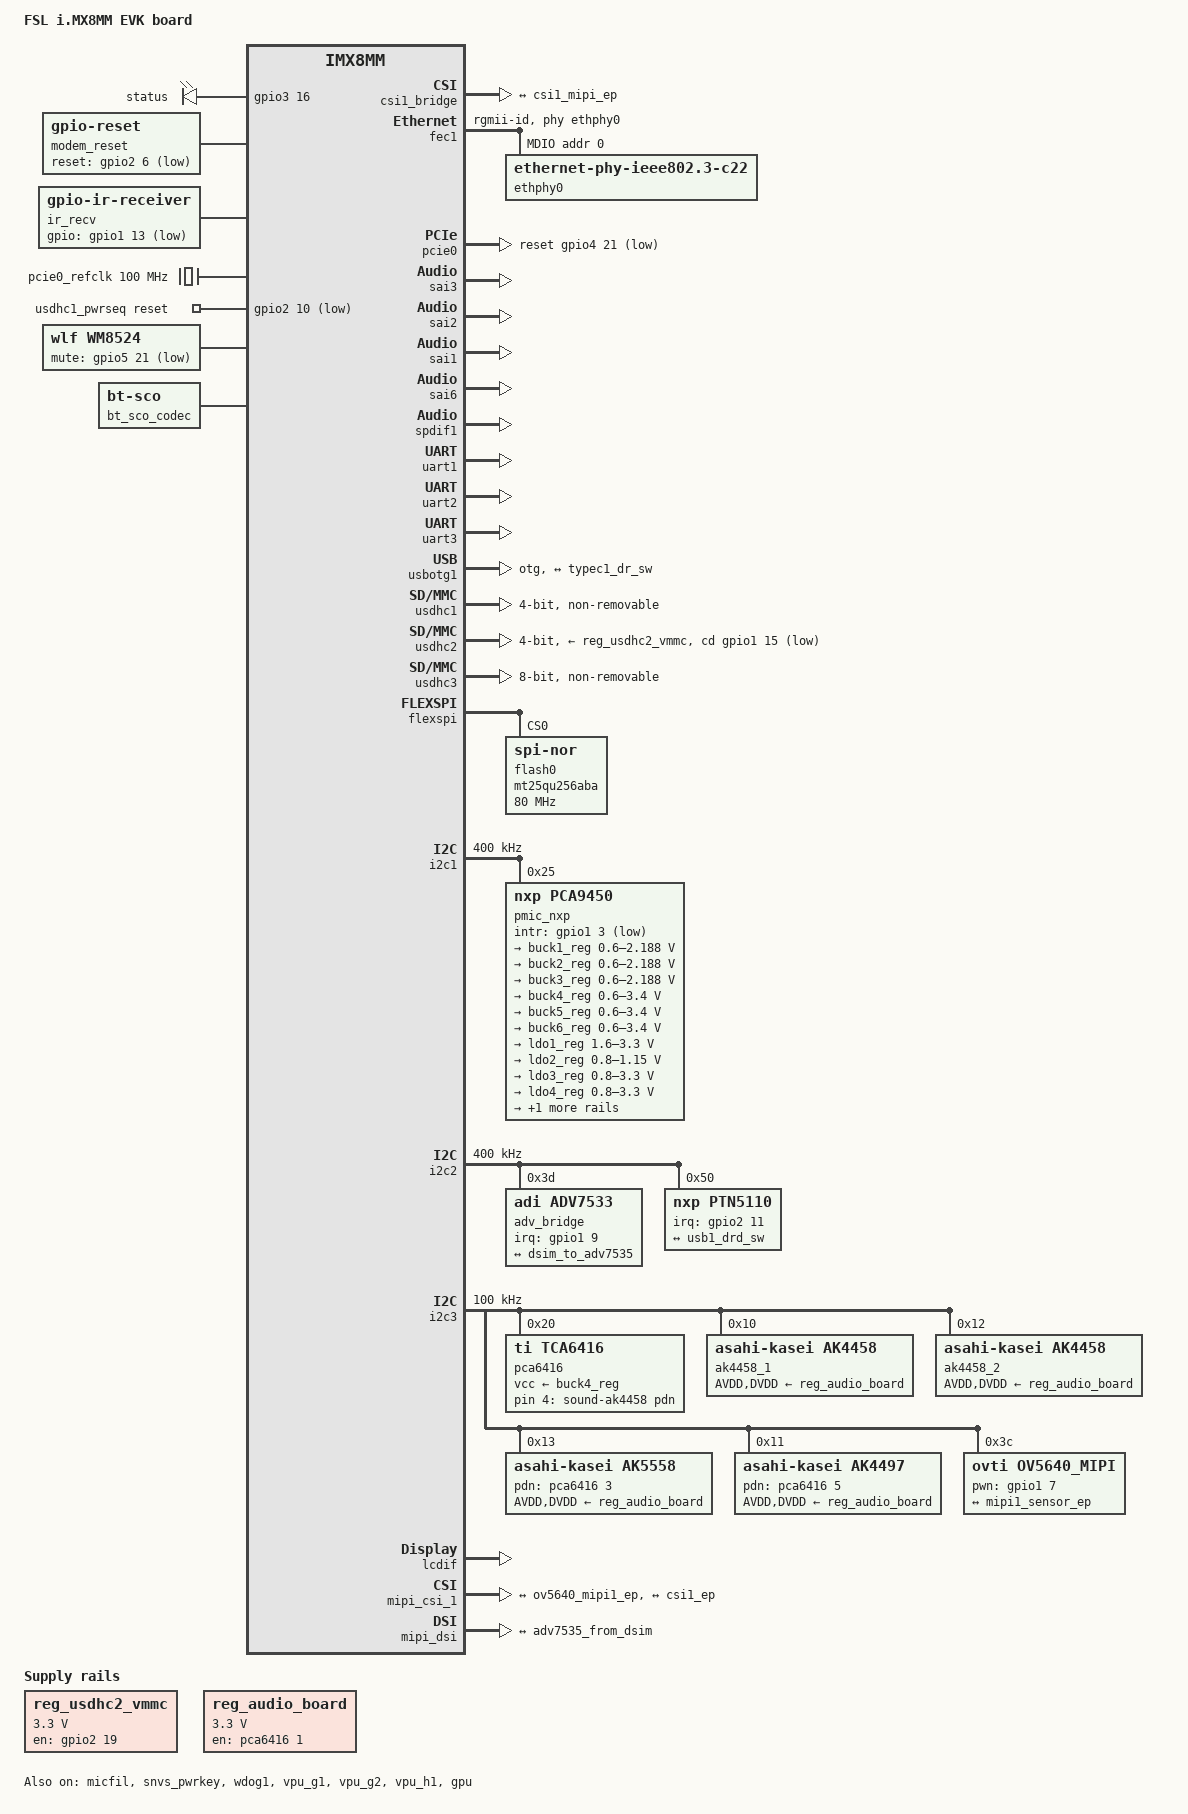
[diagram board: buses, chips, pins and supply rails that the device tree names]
// SPDX-License-Identifier: (GPL-2.0+ OR MIT)
/*
 * Copyright 2019 NXP
 */

/dts-v1/;

#include <dt-bindings/usb/pd.h>
#include "imx8mm.dtsi"

/ {
	model = "FSL i.MX8MM EVK board";
	compatible = "fsl,imx8mm-evk", "fsl,imx8mm";

	reserved-memory {
		#address-cells = <2>;
		#size-cells = <2>;
		ranges;

		rpmsg_reserved: rpmsg@0xb8000000 {
			no-map;
			reg = <0 0xb8000000 0 0x400000>;
		};
	};

	chosen {
		stdout-path = &uart2;
	};

	leds {
		compatible = "gpio-leds";
		pinctrl-names = "default";
		pinctrl-0 = <&pinctrl_gpio_led>;

		status {
			label = "status";
			gpios = <&gpio3 16 GPIO_ACTIVE_HIGH>;
			default-state = "on";
		};
	};

	modem_reset: modem-reset {
		compatible = "gpio-reset";
		reset-gpios = <&gpio2 6 GPIO_ACTIVE_LOW>;
		reset-delay-us = <2000>;
		reset-post-delay-ms = <40>;
		#reset-cells = <0>;
	};

	ir_recv: ir-receiver {
		compatible = "gpio-ir-receiver";
		gpios = <&gpio1 13 GPIO_ACTIVE_LOW>;
		pinctrl-names = "default";
		pinctrl-0 = <&pinctrl_ir_recv>;
	};

	pcie0_refclk: pcie0-refclk {
		compatible = "fixed-clock";
		#clock-cells = <0>;
		clock-frequency = <100000000>;
	};

	usdhc1_pwrseq: usdhc1_pwrseq {
		compatible = "mmc-pwrseq-simple";
		pinctrl-names = "default";
		pinctrl-0 = <&pinctrl_usdhc1_gpio>;
		reset-gpios = <&gpio2 10 GPIO_ACTIVE_LOW>;
	};

	reg_usdhc2_vmmc: regulator-usdhc2 {
		compatible = "regulator-fixed";
		pinctrl-names = "default";
		pinctrl-0 = <&pinctrl_reg_usdhc2_vmmc>;
		regulator-name = "VSD_3V3";
		regulator-min-microvolt = <3300000>;
		regulator-max-microvolt = <3300000>;
		gpio = <&gpio2 19 GPIO_ACTIVE_HIGH>;
		off-on-delay-us = <20000>;
		enable-active-high;
	};

	reg_audio_board: regulator-audio-board {
		compatible = "regulator-fixed";
		regulator-name = "EXT_PWREN";
		regulator-min-microvolt = <3300000>;
		regulator-max-microvolt = <3300000>;
		enable-active-high;
		startup-delay-us = <300000>;
		gpio = <&pca6416 1 GPIO_ACTIVE_HIGH>;
	};

	wm8524: audio-codec {
		#sound-dai-cells = <0>;
		compatible = "wlf,wm8524";
		pinctrl-names = "default";
		pinctrl-0 = <&pinctrl_gpio_wlf>;
		wlf,mute-gpios = <&gpio5 21 GPIO_ACTIVE_LOW>;
	};

	bt_sco_codec: bt_sco_codec {
		#sound-dai-cells = <1>;
		compatible = "linux,bt-sco";
	};

	sound-bt-sco {
		compatible = "simple-audio-card";
		simple-audio-card,name = "bt-sco-audio";
		simple-audio-card,format = "dsp_a";
		simple-audio-card,bitclock-inversion;
		simple-audio-card,frame-master = <&btcpu>;
		simple-audio-card,bitclock-master = <&btcpu>;

		btcpu: simple-audio-card,cpu {
			sound-dai = <&sai2>;
			dai-tdm-slot-num = <2>;
			dai-tdm-slot-width = <16>;
		};

		simple-audio-card,codec {
			sound-dai = <&bt_sco_codec 1>;
		};
	};

	sound-wm8524 {
		compatible = "simple-audio-card";
		simple-audio-card,name = "wm8524-audio";
		simple-audio-card,format = "i2s";
		simple-audio-card,frame-master = <&cpudai>;
		simple-audio-card,bitclock-master = <&cpudai>;
		simple-audio-card,widgets =
			"Line", "Left Line Out Jack",
			"Line", "Right Line Out Jack";
		simple-audio-card,routing =
			"Left Line Out Jack", "LINEVOUTL",
			"Right Line Out Jack", "LINEVOUTR";

		cpudai: simple-audio-card,cpu {
			sound-dai = <&sai3>;
			dai-tdm-slot-num = <2>;
			dai-tdm-slot-width = <32>;
		};

		simple-audio-card,codec {
			sound-dai = <&wm8524>;
			clocks = <&clk IMX8MM_CLK_SAI3_ROOT>;
		};
	};

	sound-ak4458 {
		compatible = "fsl,imx-audio-ak4458";
		model = "ak4458-audio";
		audio-cpu = <&sai1>;
		audio-codec = <&ak4458_1>, <&ak4458_2>;
		ak4458,pdn-gpio = <&pca6416 4 GPIO_ACTIVE_HIGH>;
	};

	sound-ak5558 {
		compatible = "fsl,imx-audio-ak5558";
		model = "ak5558-audio";
		audio-cpu = <&sai5>;
		audio-codec = <&ak5558>;
		status = "disabled";
	};

	sound-ak4497 {
		compatible = "fsl,imx-audio-ak4497";
		model = "ak4497-audio";
		audio-cpu = <&sai1>;
		audio-codec = <&ak4497>;
		status = "disabled";
	};

	sound-spdif {
		compatible = "fsl,imx-audio-spdif";
		model = "imx-spdif";
		spdif-controller = <&spdif1>;
		spdif-out;
		spdif-in;
	};

	sound-micfil {
		compatible = "fsl,imx-audio-micfil";
		model = "imx-audio-micfil";
		cpu-dai = <&micfil>;
	};
};

&A53_0 {
	cpu-supply = <&buck2_reg>;
};

&csi1_bridge {
	fsl,mipi-mode;
	status = "okay";
	port {
		csi1_ep: endpoint {
			remote-endpoint = <&csi1_mipi_ep>;
		};
	};
};

&fec1 {
	pinctrl-names = "default";
	pinctrl-0 = <&pinctrl_fec1>;
	phy-mode = "rgmii-id";
	phy-handle = <&ethphy0>;
	fsl,magic-packet;
	status = "okay";

	mdio {
		#address-cells = <1>;
		#size-cells = <0>;

		ethphy0: ethernet-phy@0 {
			compatible = "ethernet-phy-ieee802.3-c22";
			reg = <0>;
			at803x,eee-disabled;
			at803x,vddio-1p8v;
		};
	};
};

&pcie0{
	pinctrl-names = "default";
	pinctrl-0 = <&pinctrl_pcie0>;
	disable-gpio = <&gpio1 5 GPIO_ACTIVE_LOW>;
	reset-gpio = <&gpio4 21 GPIO_ACTIVE_LOW>;
	clocks = <&clk IMX8MM_CLK_PCIE1_ROOT>,
		 <&clk IMX8MM_CLK_PCIE1_AUX>,
		 <&clk IMX8MM_CLK_PCIE1_PHY>,
		 <&pcie0_refclk>;
	clock-names = "pcie", "pcie_aux", "pcie_phy", "pcie_bus";
	assigned-clocks = <&clk IMX8MM_CLK_PCIE1_AUX>,
			  <&clk IMX8MM_CLK_PCIE1_PHY>,
			  <&clk IMX8MM_CLK_PCIE1_CTRL>;
	assigned-clock-rates = <10000000>, <100000000>, <250000000>;
	assigned-clock-parents = <&clk IMX8MM_SYS_PLL2_50M>,
				 <&clk IMX8MM_SYS_PLL2_100M>,
				 <&clk IMX8MM_SYS_PLL2_250M>;
	ext_osc = <1>;
	l1ss-disabled;
	status = "okay";
};

&pcie0_ep{
	pinctrl-names = "default";
	pinctrl-0 = <&pinctrl_pcie0>;
	clocks = <&clk IMX8MM_CLK_PCIE1_ROOT>,
		 <&clk IMX8MM_CLK_PCIE1_AUX>,
		 <&clk IMX8MM_CLK_PCIE1_PHY>,
		 <&pcie0_refclk>;
	clock-names = "pcie", "pcie_aux", "pcie_phy", "pcie_bus";
	assigned-clocks = <&clk IMX8MM_CLK_PCIE1_AUX>,
			  <&clk IMX8MM_CLK_PCIE1_PHY>,
			  <&clk IMX8MM_CLK_PCIE1_CTRL>;
	assigned-clock-rates = <10000000>, <100000000>, <250000000>;
	assigned-clock-parents = <&clk IMX8MM_SYS_PLL2_50M>,
				 <&clk IMX8MM_SYS_PLL2_100M>,
				 <&clk IMX8MM_SYS_PLL2_250M>;
	ext_osc = <1>;
	status = "disabled";
};

&sai3 {
	pinctrl-names = "default";
	pinctrl-0 = <&pinctrl_sai3>;
	assigned-clocks = <&clk IMX8MM_CLK_SAI3>;
	assigned-clock-parents = <&clk IMX8MM_AUDIO_PLL1_OUT>;
	assigned-clock-rates = <24576000>;
	status = "okay";
};

&sai2 {
	#sound-dai-cells = <0>;
	pinctrl-names = "default";
	pinctrl-0 = <&pinctrl_sai2>;
	assigned-clocks = <&clk IMX8MM_CLK_SAI2>;
	assigned-clock-parents = <&clk IMX8MM_AUDIO_PLL1_OUT>;
	assigned-clock-rates = <24576000>;
	status = "okay";
};

&sai1 {
	pinctrl-names = "default", "dsd";
	pinctrl-0 = <&pinctrl_sai1>;
	pinctrl-1 = <&pinctrl_sai1_dsd>;
	assigned-clocks = <&clk IMX8MM_CLK_SAI1>;
	assigned-clock-parents = <&clk IMX8MM_AUDIO_PLL1_OUT>;
	assigned-clock-rates = <49152000>;
	clocks = <&clk IMX8MM_CLK_SAI1_IPG>, <&clk IMX8MM_CLK_DUMMY>,
		<&clk IMX8MM_CLK_SAI1_ROOT>, <&clk IMX8MM_CLK_DUMMY>,
		<&clk IMX8MM_CLK_DUMMY>, <&clk IMX8MM_AUDIO_PLL1_OUT>,
		<&clk IMX8MM_AUDIO_PLL2_OUT>;
	clock-names = "bus", "mclk0", "mclk1", "mclk2", "mclk3", "pll8k", "pll11k";
	fsl,sai-multi-lane;
	fsl,dataline,dsd = <0 0xff 0xff 2 0xff 0x11>;
	dmas = <&sdma2 0 25 0>, <&sdma2 1 25 0>;
	status = "okay";
};

&sai5 {
	pinctrl-names = "default";
	pinctrl-0 = <&pinctrl_sai5>;
	assigned-clocks = <&clk IMX8MM_CLK_SAI5>;
	assigned-clock-parents = <&clk IMX8MM_AUDIO_PLL1_OUT>;
	assigned-clock-rates = <49152000>;
	clocks = <&clk IMX8MM_CLK_SAI5_IPG>, <&clk IMX8MM_CLK_DUMMY>,
		<&clk IMX8MM_CLK_SAI5_ROOT>, <&clk IMX8MM_CLK_DUMMY>,
		<&clk IMX8MM_CLK_DUMMY>, <&clk IMX8MM_AUDIO_PLL1_OUT>,
		<&clk IMX8MM_AUDIO_PLL2_OUT>;
	clock-names = "bus", "mclk0", "mclk1", "mclk2", "mclk3", "pll8k", "pll11k";
	fsl,sai-asynchronous;
	status = "disabled";
};

&sai6 {
	fsl,sai-monitor-spdif;
	fsl,sai-asynchronous;
	status = "okay";
};

&spdif1 {
	pinctrl-names = "default";
	pinctrl-0 = <&pinctrl_spdif1>;
	assigned-clocks = <&clk IMX8MM_CLK_SPDIF1>;
	assigned-clock-parents = <&clk IMX8MM_AUDIO_PLL1_OUT>;
	assigned-clock-rates = <24576000>;
	clocks = <&clk IMX8MM_CLK_AUDIO_AHB>, <&clk IMX8MM_CLK_24M>,
		<&clk IMX8MM_CLK_SPDIF1>, <&clk IMX8MM_CLK_DUMMY>,
		<&clk IMX8MM_CLK_DUMMY>, <&clk IMX8MM_CLK_DUMMY>,
		<&clk IMX8MM_CLK_AUDIO_AHB>, <&clk IMX8MM_CLK_DUMMY>,
		<&clk IMX8MM_CLK_DUMMY>, <&clk IMX8MM_CLK_DUMMY>,
		<&clk IMX8MM_AUDIO_PLL1_OUT>, <&clk IMX8MM_AUDIO_PLL2_OUT>;
	clock-names = "core", "rxtx0", "rxtx1", "rxtx2", "rxtx3",
		"rxtx4", "rxtx5", "rxtx6", "rxtx7", "spba", "pll8k", "pll11k";
	status = "okay";
};

&micfil {
	pinctrl-names = "default";
	pinctrl-0 = <&pinctrl_pdm>;
	assigned-clocks = <&clk IMX8MM_CLK_PDM>;
	assigned-clock-parents = <&clk IMX8MM_AUDIO_PLL1_OUT>;
	assigned-clock-rates = <196608000>;
	status = "okay";
};

&snvs_pwrkey {
	status = "okay";
};

&uart1 { /* BT */
	pinctrl-names = "default";
	pinctrl-0 = <&pinctrl_uart1>;
	assigned-clocks = <&clk IMX8MM_CLK_UART1>;
	assigned-clock-parents = <&clk IMX8MM_SYS_PLL1_80M>;
	fsl,uart-has-rtscts;
	resets = <&modem_reset>;
	status = "okay";
};

&uart2 { /* console */
	pinctrl-names = "default";
	pinctrl-0 = <&pinctrl_uart2>;
	status = "okay";
};

&uart3 {
	pinctrl-names = "default";
	pinctrl-0 = <&pinctrl_uart3>;
	assigned-clocks = <&clk IMX8MM_CLK_UART3>;
	assigned-clock-parents = <&clk IMX8MM_SYS_PLL1_80M>;
	fsl,uart-has-rtscts;
	status = "okay";
};

&usbotg1 {
	dr_mode = "otg";
	hnp-disable;
	srp-disable;
	adp-disable;
	usb-role-switch;
	picophy,pre-emp-curr-control = <3>;
	picophy,dc-vol-level-adjust = <7>;
	status = "okay";

	port {
		usb1_drd_sw: endpoint {
			remote-endpoint = <&typec1_dr_sw>;
		};
	};
};

&usdhc1 {
	pinctrl-names = "default", "state_100mhz", "state_200mhz";
	pinctrl-0 = <&pinctrl_usdhc1>, <&pinctrl_wlan>;
	pinctrl-1 = <&pinctrl_usdhc1_100mhz>, <&pinctrl_wlan>;
	pinctrl-2 = <&pinctrl_usdhc1_200mhz>, <&pinctrl_wlan>;
	bus-width = <4>;
	cap-power-off-card;
	pm-ignore-notify;
	keep-power-in-suspend;
	non-removable;
	mmc-pwrseq = <&usdhc1_pwrseq>;
	status = "okay";
};

&usdhc2 {
	pinctrl-names = "default", "state_100mhz", "state_200mhz";
	pinctrl-0 = <&pinctrl_usdhc2>, <&pinctrl_usdhc2_gpio>;
	pinctrl-1 = <&pinctrl_usdhc2_100mhz>, <&pinctrl_usdhc2_gpio>;
	pinctrl-2 = <&pinctrl_usdhc2_200mhz>, <&pinctrl_usdhc2_gpio>;
	cd-gpios = <&gpio1 15 GPIO_ACTIVE_LOW>;
	bus-width = <4>;
	vmmc-supply = <&reg_usdhc2_vmmc>;
	status = "okay";
};

&usdhc3 {
	pinctrl-names = "default", "state_100mhz", "state_200mhz";
	pinctrl-0 = <&pinctrl_usdhc3>;
	pinctrl-1 = <&pinctrl_usdhc3_100mhz>;
	pinctrl-2 = <&pinctrl_usdhc3_200mhz>;
	bus-width = <8>;
	non-removable;
	status = "okay";
};

&wdog1 {
	pinctrl-names = "default";
	pinctrl-0 = <&pinctrl_wdog>;
	fsl,ext-reset-output;
	status = "okay";
};

&flexspi {
	pinctrl-names = "default";
	pinctrl-0 = <&pinctrl_flexspi0>;
	status = "okay";

	flash0: mt25qu256aba@0 {
		reg = <0>;
		#address-cells = <1>;
		#size-cells = <1>;
		compatible = "jedec,spi-nor";
		spi-max-frequency = <80000000>;
		spi-tx-bus-width = <4>;
		spi-rx-bus-width = <4>;
	};
};

&i2c1 {
	clock-frequency = <400000>;
	pinctrl-names = "default";
	pinctrl-0 = <&pinctrl_i2c1>;
	status = "okay";

	pmic_nxp: pca9450@25 {
		reg = <0x25>;
		compatible = "nxp,pca9450";
		/* PMIC PCA9450 PMIC_nINT GPIO1_IO3 */
		pinctrl-0 = <&pinctrl_pmic>;
		gpio_intr = <&gpio1 3 GPIO_ACTIVE_LOW>;

		regulators {
			#address-cells = <1>;
			#size-cells = <0>;

			pca9450,pmic-buck1-uses-i2c-dvs;
			/* Run/Standby voltage */
			pca9450,pmic-buck1-dvs-voltage = <850000>, <800000>;

			buck1_reg: regulator@0 {
				reg = <0>;
				regulator-compatible = "buck1";
				regulator-min-microvolt = <600000>;
				regulator-max-microvolt = <2187500>;
				regulator-boot-on;
				regulator-always-on;
				regulator-ramp-delay = <3125>;
			};

			buck2_reg: regulator@1 {
				reg = <1>;
				regulator-compatible = "buck2";
				regulator-min-microvolt = <600000>;
				regulator-max-microvolt = <2187500>;
				regulator-boot-on;
				regulator-always-on;
				regulator-ramp-delay = <3125>;
			};

			buck3_reg: regulator@2 {
				reg = <2>;
				regulator-compatible = "buck3";
				regulator-min-microvolt = <600000>;
				regulator-max-microvolt = <2187500>;
				regulator-boot-on;
				regulator-always-on;
			};

			buck4_reg: regulator@3 {
				reg = <3>;
				regulator-compatible = "buck4";
				regulator-min-microvolt = <600000>;
				regulator-max-microvolt = <3400000>;
				regulator-boot-on;
				regulator-always-on;
			};

			buck5_reg: regulator@4 {
				reg = <4>;
				regulator-compatible = "buck5";
				regulator-min-microvolt = <600000>;
				regulator-max-microvolt = <3400000>;
				regulator-boot-on;
				regulator-always-on;
			};

			buck6_reg: regulator@5 {
				reg = <5>;
				regulator-compatible = "buck6";
				regulator-min-microvolt = <600000>;
				regulator-max-microvolt = <3400000>;
				regulator-boot-on;
				regulator-always-on;
			};

			ldo1_reg: regulator@6 {
				reg = <6>;
				regulator-compatible = "ldo1";
				regulator-min-microvolt = <1600000>;
				regulator-max-microvolt = <3300000>;
				regulator-boot-on;
				regulator-always-on;
			};

			ldo2_reg: regulator@7 {
				reg = <7>;
				regulator-compatible = "ldo2";
				regulator-min-microvolt = <800000>;
				regulator-max-microvolt = <1150000>;
				regulator-boot-on;
				regulator-always-on;
			};

			ldo3_reg: regulator@8 {
				reg = <8>;
				regulator-compatible = "ldo3";
				regulator-min-microvolt = <800000>;
				regulator-max-microvolt = <3300000>;
				regulator-boot-on;
				regulator-always-on;
			};

			ldo4_reg: regulator@9 {
				reg = <9>;
				regulator-compatible = "ldo4";
				regulator-min-microvolt = <800000>;
				regulator-max-microvolt = <3300000>;
				regulator-boot-on;
				regulator-always-on;
			};

			ldo5_reg: regulator@10 {
				reg = <10>;
				regulator-compatible = "ldo5";
				regulator-min-microvolt = <1800000>;
				regulator-max-microvolt = <3300000>;
			};
		};
	};
};

&i2c2 {
	clock-frequency = <400000>;
	pinctrl-names = "default";
	pinctrl-0 = <&pinctrl_i2c2>;
	status = "okay";

	adv_bridge: adv7535@3d {
		compatible = "adi,adv7533";
		reg = <0x3d>;
		adi,addr-cec = <0x3b>;
		adi,dsi-lanes = <4>;
		pinctrl-names = "default";
		pinctrl-0 = <&pinctrl_i2c2_synaptics_dsx_io>;
		interrupt-parent = <&gpio1>;
		interrupts = <9 IRQ_TYPE_LEVEL_LOW>;
		status = "okay";

		port {
			adv7535_from_dsim: endpoint {
				remote-endpoint = <&dsim_to_adv7535>;
			};
		};
	};

	ptn5110: tcpc@50 {
		compatible = "nxp,ptn5110";
		pinctrl-names = "default";
		pinctrl-0 = <&pinctrl_typec1>;
		reg = <0x50>;
		interrupt-parent = <&gpio2>;
		interrupts = <11 8>;
		status = "okay";

		port {
			typec1_dr_sw: endpoint {
				remote-endpoint = <&usb1_drd_sw>;
			};
		};

		typec1_con: connector {
			compatible = "usb-c-connector";
			label = "USB-C";
			power-role = "dual";
			data-role = "dual";
			try-power-role = "sink";
			source-pdos = <PDO_FIXED(5000, 3000, PDO_FIXED_USB_COMM)>;
			sink-pdos = <PDO_FIXED(5000, 3000, PDO_FIXED_USB_COMM)
				     PDO_VAR(5000, 20000, 3000)>;
			op-sink-microwatt = <15000000>;
			self-powered;
		};
	};
};

&i2c3 {
	clock-frequency = <100000>;
	pinctrl-names = "default";
	pinctrl-0 = <&pinctrl_i2c3>;
	status = "okay";

	pca6416: gpio@20 {
		compatible = "ti,tca6416";
		reg = <0x20>;
		gpio-controller;
		#gpio-cells = <2>;
		vcc-supply = <&buck4_reg>;
	};

	ak4458_1: ak4458@10 {
		compatible = "asahi-kasei,ak4458";
		reg = <0x10>;
		AVDD-supply = <&reg_audio_board>;
		DVDD-supply = <&reg_audio_board>;
	};

	ak4458_2: ak4458@12 {
		compatible = "asahi-kasei,ak4458";
		reg = <0x12>;
		AVDD-supply = <&reg_audio_board>;
		DVDD-supply = <&reg_audio_board>;
	};

	ak5558: ak5558@13 {
		compatible = "asahi-kasei,ak5558";
		reg = <0x13>;
		ak5558,pdn-gpio = <&pca6416 3 GPIO_ACTIVE_HIGH>;
		AVDD-supply = <&reg_audio_board>;
		DVDD-supply = <&reg_audio_board>;
	};

	ak4497: ak4497@11 {
		compatible = "asahi-kasei,ak4497";
		reg = <0x11>;
		ak4497,pdn-gpio = <&pca6416 5 GPIO_ACTIVE_HIGH>;
		AVDD-supply = <&reg_audio_board>;
		DVDD-supply = <&reg_audio_board>;
	};

	ov5640_mipi: ov5640_mipi@3c {
		compatible = "ovti,ov5640_mipi";
		reg = <0x3c>;
		status = "okay";
		pinctrl-names = "default";
		pinctrl-0 = <&pinctrl_csi_pwn>, <&pinctrl_csi_rst>;
		clocks = <&clk IMX8MM_CLK_CLKO1>;
		clock-names = "csi_mclk";
		assigned-clocks = <&clk IMX8MM_CLK_CLKO1>;
		assigned-clock-parents = <&clk IMX8MM_CLK_24M>;
		assigned-clock-rates = <24000000>;
		csi_id = <0>;
		pwn-gpios = <&gpio1 7 GPIO_ACTIVE_HIGH>;
		mclk = <24000000>;
		mclk_source = <0>;
		port {
			ov5640_mipi1_ep: endpoint {
				remote-endpoint = <&mipi1_sensor_ep>;
			};
		};
	};
};

&iomuxc {
	pinctrl-names = "default";

	pinctrl_csi_pwn: csi_pwn_grp {
		fsl,pins = <
			MX8MM_IOMUXC_GPIO1_IO07_GPIO1_IO7		0x19
		>;
	};

	pinctrl_csi_rst: csi_rst_grp {
		fsl,pins = <
			MX8MM_IOMUXC_GPIO1_IO06_GPIO1_IO6		0x19
			MX8MM_IOMUXC_GPIO1_IO14_CCMSRCGPCMIX_CLKO1	0x59
		>;
	};

	pinctrl_ir_recv: ir-recv {
		fsl,pins = <
			MX8MM_IOMUXC_GPIO1_IO13_GPIO1_IO13		0x4f
		>;
	};

	pinctrl_fec1: fec1grp {
		fsl,pins = <
			MX8MM_IOMUXC_ENET_MDC_ENET1_MDC			0x3
			MX8MM_IOMUXC_ENET_MDIO_ENET1_MDIO		0x3
			MX8MM_IOMUXC_ENET_TD3_ENET1_RGMII_TD3		0x1f
			MX8MM_IOMUXC_ENET_TD2_ENET1_RGMII_TD2		0x1f
			MX8MM_IOMUXC_ENET_TD1_ENET1_RGMII_TD1		0x1f
			MX8MM_IOMUXC_ENET_TD0_ENET1_RGMII_TD0		0x1f
			MX8MM_IOMUXC_ENET_RD3_ENET1_RGMII_RD3		0x91
			MX8MM_IOMUXC_ENET_RD2_ENET1_RGMII_RD2		0x91
			MX8MM_IOMUXC_ENET_RD1_ENET1_RGMII_RD1		0x91
			MX8MM_IOMUXC_ENET_RD0_ENET1_RGMII_RD0		0x91
			MX8MM_IOMUXC_ENET_TXC_ENET1_RGMII_TXC		0x1f
			MX8MM_IOMUXC_ENET_RXC_ENET1_RGMII_RXC		0x91
			MX8MM_IOMUXC_ENET_RX_CTL_ENET1_RGMII_RX_CTL	0x91
			MX8MM_IOMUXC_ENET_TX_CTL_ENET1_RGMII_TX_CTL	0x1f
			MX8MM_IOMUXC_SAI2_RXC_GPIO4_IO22		0x19
		>;
	};

	pinctrl_flexspi0: flexspi0grp {
		fsl,pins = <
			MX8MM_IOMUXC_NAND_ALE_QSPI_A_SCLK               0x1c2
			MX8MM_IOMUXC_NAND_CE0_B_QSPI_A_SS0_B            0x82
			MX8MM_IOMUXC_NAND_DATA00_QSPI_A_DATA0           0x82
			MX8MM_IOMUXC_NAND_DATA01_QSPI_A_DATA1           0x82
			MX8MM_IOMUXC_NAND_DATA02_QSPI_A_DATA2           0x82
			MX8MM_IOMUXC_NAND_DATA03_QSPI_A_DATA3           0x82
		>;
	};

	pinctrl_gpio_led: gpioledgrp {
		fsl,pins = <
			MX8MM_IOMUXC_NAND_READY_B_GPIO3_IO16	0x19
		>;
	};

	pinctrl_gpio_wlf: gpiowlfgrp {
		fsl,pins = <
			MX8MM_IOMUXC_I2C4_SDA_GPIO5_IO21	0xd6
		>;
	};

	pinctrl_i2c1: i2c1grp {
		fsl,pins = <
			MX8MM_IOMUXC_I2C1_SCL_I2C1_SCL			0x400001c3
			MX8MM_IOMUXC_I2C1_SDA_I2C1_SDA			0x400001c3
		>;
	};

	pinctrl_i2c2: i2c2grp {
		fsl,pins = <
			MX8MM_IOMUXC_I2C2_SCL_I2C2_SCL			0x400001c3
			MX8MM_IOMUXC_I2C2_SDA_I2C2_SDA			0x400001c3
		>;
	};

	pinctrl_i2c3: i2c3grp {
		fsl,pins = <
			MX8MM_IOMUXC_I2C3_SCL_I2C3_SCL			0x400001c3
			MX8MM_IOMUXC_I2C3_SDA_I2C3_SDA			0x400001c3
		>;
	};

	pinctrl_mipi_dsi_en: mipi_dsi_en {
		fsl,pins = <
			MX8MM_IOMUXC_GPIO1_IO08_GPIO1_IO8		0x16
		>;
	};

	pinctrl_i2c2_synaptics_dsx_io: synaptics_dsx_iogrp {
		fsl,pins = <
			MX8MM_IOMUXC_GPIO1_IO09_GPIO1_IO9               0x19    /* Touch int */
		>;
	};

	pinctrl_pcie0: pcie0grp {
		fsl,pins = <
			MX8MM_IOMUXC_I2C4_SCL_PCIE1_CLKREQ_B	0x61 /* open drain, pull up */
			MX8MM_IOMUXC_GPIO1_IO05_GPIO1_IO5	0x41
			MX8MM_IOMUXC_SAI2_RXFS_GPIO4_IO21	0x41
		>;
	};

	pinctrl_pmic: pmicirq {
		fsl,pins = <
			MX8MM_IOMUXC_GPIO1_IO03_GPIO1_IO3		0x41
		>;
	};

	pinctrl_reg_usdhc2_vmmc: regusdhc2vmmc {
		fsl,pins = <
			MX8MM_IOMUXC_SD2_RESET_B_GPIO2_IO19	0x41
		>;
	};

	pinctrl_sai2: sai2grp {
		fsl,pins = <
			MX8MM_IOMUXC_SAI2_TXC_SAI2_TX_BCLK      0xd6
			MX8MM_IOMUXC_SAI2_TXFS_SAI2_TX_SYNC     0xd6
			MX8MM_IOMUXC_SAI2_TXD0_SAI2_TX_DATA0    0xd6
			MX8MM_IOMUXC_SAI2_RXD0_SAI2_RX_DATA0    0xd6
		>;
	};

	pinctrl_sai3: sai3grp {
		fsl,pins = <
			MX8MM_IOMUXC_SAI3_TXFS_SAI3_TX_SYNC     0xd6
			MX8MM_IOMUXC_SAI3_TXC_SAI3_TX_BCLK      0xd6
			MX8MM_IOMUXC_SAI3_MCLK_SAI3_MCLK        0xd6
			MX8MM_IOMUXC_SAI3_TXD_SAI3_TX_DATA0     0xd6
		>;
	};

	pinctrl_sai1: sai1grp {
		fsl,pins = <
			MX8MM_IOMUXC_SAI1_MCLK_SAI1_MCLK	0xd6
			MX8MM_IOMUXC_SAI1_TXFS_SAI1_TX_SYNC	0xd6
			MX8MM_IOMUXC_SAI1_RXD7_SAI1_TX_SYNC	0xd6
			MX8MM_IOMUXC_SAI1_TXC_SAI1_TX_BCLK	0xd6
			MX8MM_IOMUXC_SAI1_TXD0_SAI1_TX_DATA0	0xd6
			MX8MM_IOMUXC_SAI1_TXD1_SAI1_TX_DATA1	0xd6
			MX8MM_IOMUXC_SAI1_TXD2_SAI1_TX_DATA2	0xd6
			MX8MM_IOMUXC_SAI1_TXD3_SAI1_TX_DATA3	0xd6
			MX8MM_IOMUXC_SAI1_TXD4_SAI1_TX_DATA4	0xd6
			MX8MM_IOMUXC_SAI1_TXD5_SAI1_TX_DATA5	0xd6
			MX8MM_IOMUXC_SAI1_TXD6_SAI1_TX_DATA6	0xd6
			MX8MM_IOMUXC_SAI1_TXD7_SAI1_TX_DATA7	0xd6
		>;
	};

	pinctrl_sai1_dsd: sai1grp_dsd {
		fsl,pins = <
			MX8MM_IOMUXC_SAI1_MCLK_SAI1_MCLK	0xd6
			MX8MM_IOMUXC_SAI1_TXFS_SAI1_TX_SYNC	0xd6
			MX8MM_IOMUXC_SAI1_RXD7_SAI1_TX_DATA4	0xd6
			MX8MM_IOMUXC_SAI1_TXC_SAI1_TX_BCLK	0xd6
			MX8MM_IOMUXC_SAI1_TXD0_SAI1_TX_DATA0	0xd6
			MX8MM_IOMUXC_SAI1_TXD1_SAI1_TX_DATA1	0xd6
			MX8MM_IOMUXC_SAI1_TXD2_SAI1_TX_DATA2	0xd6
			MX8MM_IOMUXC_SAI1_TXD3_SAI1_TX_DATA3	0xd6
			MX8MM_IOMUXC_SAI1_TXD4_SAI1_TX_DATA4	0xd6
			MX8MM_IOMUXC_SAI1_TXD5_SAI1_TX_DATA5	0xd6
			MX8MM_IOMUXC_SAI1_TXD6_SAI1_TX_DATA6	0xd6
			MX8MM_IOMUXC_SAI1_TXD7_SAI1_TX_DATA7	0xd6
		>;
	};

	pinctrl_sai5: sai5grp {
		fsl,pins = <
			MX8MM_IOMUXC_SAI5_MCLK_SAI5_MCLK	0xd6
			MX8MM_IOMUXC_SAI5_RXC_SAI5_RX_BCLK	0xd6
			MX8MM_IOMUXC_SAI5_RXFS_SAI5_RX_SYNC	0xd6
			MX8MM_IOMUXC_SAI5_RXD0_SAI5_RX_DATA0	0xd6
			MX8MM_IOMUXC_SAI5_RXD1_SAI5_RX_DATA1    0xd6
			MX8MM_IOMUXC_SAI5_RXD2_SAI5_RX_DATA2    0xd6
			MX8MM_IOMUXC_SAI5_RXD3_SAI5_RX_DATA3    0xd6
		>;
	};

	pinctrl_pdm: pdmgrp {
		fsl,pins = <
			MX8MM_IOMUXC_SAI5_MCLK_SAI5_MCLK	0xd6
			MX8MM_IOMUXC_SAI5_RXC_PDM_CLK		0xd6
			MX8MM_IOMUXC_SAI5_RXFS_SAI5_RX_SYNC	0xd6
			MX8MM_IOMUXC_SAI5_RXD0_PDM_DATA0	0xd6
			MX8MM_IOMUXC_SAI5_RXD1_PDM_DATA1	0xd6
			MX8MM_IOMUXC_SAI5_RXD2_PDM_DATA2	0xd6
			MX8MM_IOMUXC_SAI5_RXD3_PDM_DATA3	0xd6
		>;
	};

	pinctrl_spdif1: spdif1grp {
		fsl,pins = <
			MX8MM_IOMUXC_SPDIF_TX_SPDIF1_OUT	0xd6
			MX8MM_IOMUXC_SPDIF_RX_SPDIF1_IN		0xd6
		>;
	};

	pinctrl_typec1: typec1grp {
		fsl,pins = <
			MX8MM_IOMUXC_SD1_STROBE_GPIO2_IO11	0x159
		>;
	};

	pinctrl_uart1: uart1grp {
		fsl,pins = <
			MX8MM_IOMUXC_UART1_RXD_UART1_DCE_RX	0x140
			MX8MM_IOMUXC_UART1_TXD_UART1_DCE_TX	0x140
			MX8MM_IOMUXC_UART3_RXD_UART1_DCE_CTS_B	0x140
			MX8MM_IOMUXC_UART3_TXD_UART1_DCE_RTS_B	0x140
			MX8MM_IOMUXC_SD1_DATA4_GPIO2_IO6	0x19
		>;
	};

	pinctrl_uart2: uart2grp {
		fsl,pins = <
			MX8MM_IOMUXC_UART2_RXD_UART2_DCE_RX	0x140
			MX8MM_IOMUXC_UART2_TXD_UART2_DCE_TX	0x140
		>;
	};

	pinctrl_uart3: uart3grp {
		fsl,pins = <
			MX8MM_IOMUXC_ECSPI1_SCLK_UART3_DCE_RX		0x140
			MX8MM_IOMUXC_ECSPI1_MOSI_UART3_DCE_TX		0x140
			MX8MM_IOMUXC_ECSPI1_SS0_UART3_DCE_RTS_B		0x140
			MX8MM_IOMUXC_ECSPI1_MISO_UART3_DCE_CTS_B	0x140
		>;
	};

	pinctrl_usdhc1_gpio: usdhc1grpgpio {
		fsl,pins = <
			MX8MM_IOMUXC_SD1_RESET_B_GPIO2_IO10	0x41
		>;
	};

	pinctrl_usdhc1: usdhc1grp {
		fsl,pins = <
			MX8MM_IOMUXC_SD1_CLK_USDHC1_CLK		0x190
			MX8MM_IOMUXC_SD1_CMD_USDHC1_CMD		0x1d0
			MX8MM_IOMUXC_SD1_DATA0_USDHC1_DATA0	0x1d0
			MX8MM_IOMUXC_SD1_DATA1_USDHC1_DATA1	0x1d0
			MX8MM_IOMUXC_SD1_DATA2_USDHC1_DATA2	0x1d0
			MX8MM_IOMUXC_SD1_DATA3_USDHC1_DATA3	0x1d0
		>;
	};

	pinctrl_usdhc1_100mhz: usdhc1grp100mhz {
		fsl,pins = <
			MX8MM_IOMUXC_SD1_CLK_USDHC1_CLK		0x194
			MX8MM_IOMUXC_SD1_CMD_USDHC1_CMD		0x1d4
			MX8MM_IOMUXC_SD1_DATA0_USDHC1_DATA0	0x1d4
			MX8MM_IOMUXC_SD1_DATA1_USDHC1_DATA1	0x1d4
			MX8MM_IOMUXC_SD1_DATA2_USDHC1_DATA2	0x1d4
			MX8MM_IOMUXC_SD1_DATA3_USDHC1_DATA3	0x1d4
		>;
	};

	pinctrl_usdhc1_200mhz: usdhc1grp200mhz {
		fsl,pins = <
			MX8MM_IOMUXC_SD1_CLK_USDHC1_CLK		0x196
			MX8MM_IOMUXC_SD1_CMD_USDHC1_CMD		0x1d6
			MX8MM_IOMUXC_SD1_DATA0_USDHC1_DATA0	0x1d6
			MX8MM_IOMUXC_SD1_DATA1_USDHC1_DATA1	0x1d6
			MX8MM_IOMUXC_SD1_DATA2_USDHC1_DATA2	0x1d6
			MX8MM_IOMUXC_SD1_DATA3_USDHC1_DATA3	0x1d6
		>;
	};

	pinctrl_usdhc2_gpio: usdhc2grpgpio {
		fsl,pins = <
			MX8MM_IOMUXC_GPIO1_IO15_GPIO1_IO15	0x1c4
		>;
	};

	pinctrl_usdhc2: usdhc2grp {
		fsl,pins = <
			MX8MM_IOMUXC_SD2_CLK_USDHC2_CLK		0x190
			MX8MM_IOMUXC_SD2_CMD_USDHC2_CMD		0x1d0
			MX8MM_IOMUXC_SD2_DATA0_USDHC2_DATA0	0x1d0
			MX8MM_IOMUXC_SD2_DATA1_USDHC2_DATA1	0x1d0
			MX8MM_IOMUXC_SD2_DATA2_USDHC2_DATA2	0x1d0
			MX8MM_IOMUXC_SD2_DATA3_USDHC2_DATA3	0x1d0
			MX8MM_IOMUXC_GPIO1_IO04_USDHC2_VSELECT	0x1d0
		>;
	};

	pinctrl_usdhc2_100mhz: usdhc2grp100mhz {
		fsl,pins = <
			MX8MM_IOMUXC_SD2_CLK_USDHC2_CLK		0x194
			MX8MM_IOMUXC_SD2_CMD_USDHC2_CMD		0x1d4
			MX8MM_IOMUXC_SD2_DATA0_USDHC2_DATA0	0x1d4
			MX8MM_IOMUXC_SD2_DATA1_USDHC2_DATA1	0x1d4
			MX8MM_IOMUXC_SD2_DATA2_USDHC2_DATA2	0x1d4
			MX8MM_IOMUXC_SD2_DATA3_USDHC2_DATA3	0x1d4
			MX8MM_IOMUXC_GPIO1_IO04_USDHC2_VSELECT	0x1d0
		>;
	};

	pinctrl_usdhc2_200mhz: usdhc2grp200mhz {
		fsl,pins = <
			MX8MM_IOMUXC_SD2_CLK_USDHC2_CLK		0x196
			MX8MM_IOMUXC_SD2_CMD_USDHC2_CMD		0x1d6
			MX8MM_IOMUXC_SD2_DATA0_USDHC2_DATA0	0x1d6
			MX8MM_IOMUXC_SD2_DATA1_USDHC2_DATA1	0x1d6
			MX8MM_IOMUXC_SD2_DATA2_USDHC2_DATA2	0x1d6
			MX8MM_IOMUXC_SD2_DATA3_USDHC2_DATA3	0x1d6
			MX8MM_IOMUXC_GPIO1_IO04_USDHC2_VSELECT	0x1d0
		>;
	};

	pinctrl_usdhc3: usdhc3grp {
		fsl,pins = <
			MX8MM_IOMUXC_NAND_WE_B_USDHC3_CLK		0x190
			MX8MM_IOMUXC_NAND_WP_B_USDHC3_CMD		0x1d0
			MX8MM_IOMUXC_NAND_DATA04_USDHC3_DATA0		0x1d0
			MX8MM_IOMUXC_NAND_DATA05_USDHC3_DATA1		0x1d0
			MX8MM_IOMUXC_NAND_DATA06_USDHC3_DATA2		0x1d0
			MX8MM_IOMUXC_NAND_DATA07_USDHC3_DATA3		0x1d0
			MX8MM_IOMUXC_NAND_RE_B_USDHC3_DATA4		0x1d0
			MX8MM_IOMUXC_NAND_CE2_B_USDHC3_DATA5		0x1d0
			MX8MM_IOMUXC_NAND_CE3_B_USDHC3_DATA6		0x1d0
			MX8MM_IOMUXC_NAND_CLE_USDHC3_DATA7		0x1d0
			MX8MM_IOMUXC_NAND_CE1_B_USDHC3_STROBE 		0x190
		>;
	};

	pinctrl_usdhc3_100mhz: usdhc3grp100mhz {
		fsl,pins = <
			MX8MM_IOMUXC_NAND_WE_B_USDHC3_CLK		0x194
			MX8MM_IOMUXC_NAND_WP_B_USDHC3_CMD		0x1d4
			MX8MM_IOMUXC_NAND_DATA04_USDHC3_DATA0		0x1d4
			MX8MM_IOMUXC_NAND_DATA05_USDHC3_DATA1		0x1d4
			MX8MM_IOMUXC_NAND_DATA06_USDHC3_DATA2		0x1d4
			MX8MM_IOMUXC_NAND_DATA07_USDHC3_DATA3		0x1d4
			MX8MM_IOMUXC_NAND_RE_B_USDHC3_DATA4		0x1d4
			MX8MM_IOMUXC_NAND_CE2_B_USDHC3_DATA5		0x1d4
			MX8MM_IOMUXC_NAND_CE3_B_USDHC3_DATA6		0x1d4
			MX8MM_IOMUXC_NAND_CLE_USDHC3_DATA7		0x1d4
			MX8MM_IOMUXC_NAND_CE1_B_USDHC3_STROBE 		0x194
		>;
	};

	pinctrl_usdhc3_200mhz: usdhc3grp200mhz {
		fsl,pins = <
			MX8MM_IOMUXC_NAND_WE_B_USDHC3_CLK		0x196
			MX8MM_IOMUXC_NAND_WP_B_USDHC3_CMD		0x1d6
			MX8MM_IOMUXC_NAND_DATA04_USDHC3_DATA0		0x1d6
			MX8MM_IOMUXC_NAND_DATA05_USDHC3_DATA1		0x1d6
			MX8MM_IOMUXC_NAND_DATA06_USDHC3_DATA2		0x1d6
			MX8MM_IOMUXC_NAND_DATA07_USDHC3_DATA3		0x1d6
			MX8MM_IOMUXC_NAND_RE_B_USDHC3_DATA4		0x1d6
			MX8MM_IOMUXC_NAND_CE2_B_USDHC3_DATA5		0x1d6
			MX8MM_IOMUXC_NAND_CE3_B_USDHC3_DATA6		0x1d6
			MX8MM_IOMUXC_NAND_CLE_USDHC3_DATA7		0x1d6
			MX8MM_IOMUXC_NAND_CE1_B_USDHC3_STROBE 		0x196
		>;
	};

	pinctrl_wdog: wdoggrp {
		fsl,pins = <
			MX8MM_IOMUXC_GPIO1_IO02_WDOG1_WDOG_B	0xc6
		>;
	};

	pinctrl_wlan: wlangrp {
		fsl,pins = <
			MX8MM_IOMUXC_GPIO1_IO00_ANAMIX_REF_CLK_32K	0x141
			MX8MM_IOMUXC_SD1_DATA7_GPIO2_IO9		0x111
		>;
	};
};

&lcdif {
	status = "okay";
};

&mipi_csi_1 {
	#address-cells = <1>;
	#size-cells = <0>;
	status = "okay";
	port {
		mipi1_sensor_ep: endpoint@1 {
			remote-endpoint = <&ov5640_mipi1_ep>;
			data-lanes = <2>;
			csis-hs-settle = <13>;
			csis-clk-settle = <2>;
			csis-wclk;
		};

		csi1_mipi_ep: endpoint@2 {
			remote-endpoint = <&csi1_ep>;
		};
	};
};

&mipi_dsi {
	status = "okay";

	port@1 {
		dsim_to_adv7535: endpoint {
			remote-endpoint = <&adv7535_from_dsim>;
			attach-bridge;
		};
	};
};

&vpu_g1 {
	status = "okay";
};

&vpu_g2 {
	status = "okay";
};

&vpu_h1 {
	status = "okay";
};

&gpu {
	status = "okay";
};
